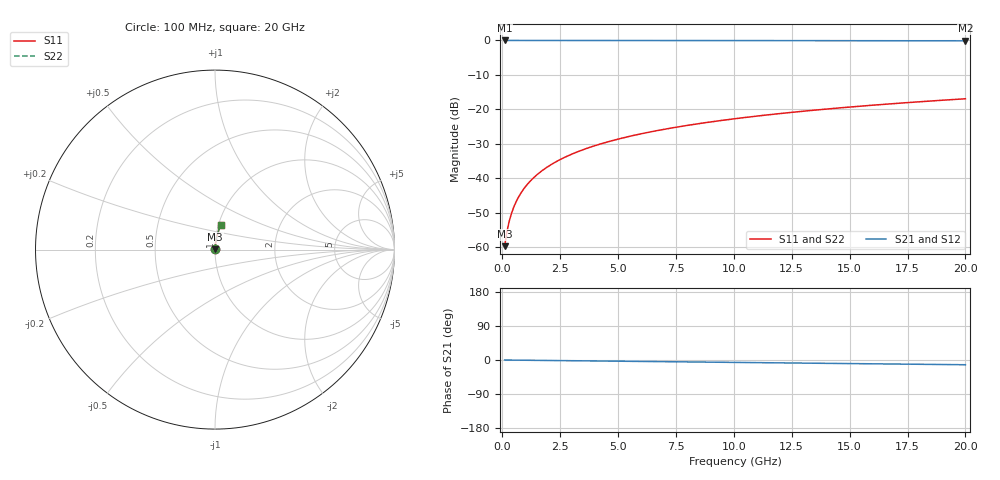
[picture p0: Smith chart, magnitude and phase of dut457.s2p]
! Touchstone file exported from HFSS 2026.1.0
!  File:  C:/ffzhzh/LocalFiles/Ansys_Project_Files/temp_train_TSV_457_1783021889_46388.aedt
!  Generated:  03:54:26 AM Jul  3, 2026
!  Design:  TSV
!  Project:  temp_train_TSV_457_1783021889_46388
! Variables:
!  h_bsmrdl = 2um
!  h_ox = 20um
!  h_rdl = 5um
!  h_sub = 89.25um
!  h_tmrdl = 5um
!  h_tsv = 89.25um
!  h_via = 3um
!  l_bsmrdl = 300um
!  l_sub = 407.8um
!  l_tmrdl = 200um
!  m_sub = 200um
!  pitch = 59.17um
!  r_tsv = 3.9um
!  s_tmrdl = 10um
!  w_bsmrdl = 18um
!  w_sub = 500um
!  w_tmrdl = 12um
!  x_tsv_center1 = 206um
!  x_tsv_center2 = 524um
!  x_tsv_center3 = 736um
!  x_tsv_center4 = 1054um
!  x_tsv_center5 = 1266um
!  x_tsv_center6 = 1584um
# GHz S MA R 50.000000
! Terminal data exported
! Port[1] = TSV1_1_T1
! Port[2] = TSV1_1_T2
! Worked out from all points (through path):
!   200 points, 100 MHz to 20 GHz, reference 50 ohm
!   highest |S21| = -0.01 dB at 100 MHz (marker M1); lowest = -0.1 dB at 20 GHz (marker M2)
!   group delay of S21, straight-line fit = 1.74 ps
!   lowest |S11| = -59.7 dB at 100 MHz (marker M3), VSWR 1.00, Z = 50.1 + j0.0762 ohm
!   |S11| at or under -10 dB: start of sweep to end of sweep
!   |S22| runs from -59.7 to -16.9 dB; largest |S21 - S12| = 2.1e-15
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0.1  0.001032 47.5  0.9993 -0.1  0.9993 -0.1  0.001032 47.5
! Gamma 0 0 0 0
! Port Impedance 50 0 50 0
0.2  0.001675 65.0  0.9993 -0.1  0.9993 -0.1  0.001675 65.0
0.3  0.002383 72.3  0.9993 -0.2  0.9993 -0.2  0.002383 72.3
0.4  0.003109 76.2  0.9993 -0.3  0.9993 -0.3  0.003109 76.2
0.5  0.003842 78.6  0.9993 -0.3  0.9993 -0.3  0.003842 78.6
0.7  0.005317 81.4  0.9992 -0.5  0.9992 -0.5  0.005317 81.4
0.8  0.006057 82.2  0.9992 -0.5  0.9992 -0.5  0.006057 82.2
1  0.00754 83.4  0.9992 -0.6  0.9992 -0.6  0.00754 83.4
1.2  0.009024 84.1  0.9991 -0.8  0.9991 -0.8  0.009024 84.1
1.4  0.01051 84.6  0.9991 -0.9  0.9991 -0.9  0.01051 84.6
1.7  0.01274 85.1  0.9991 -1.1  0.9991 -1.1  0.01274 85.1
2  0.01496 85.3  0.999 -1.3  0.999 -1.3  0.01496 85.3
2.7  0.02013 85.4  0.9988 -1.7  0.9988 -1.7  0.02013 85.4
3.5  0.02602 85.3  0.9985 -2.2  0.9985 -2.2  0.02602 85.3
4.2  0.03113 85.0  0.9983 -2.7  0.9983 -2.7  0.03113 85.0
5  0.03695 84.7  0.9979 -3.2  0.9979 -3.2  0.03695 84.7
6.8  0.04992 83.8  0.9971 -4.3  0.9971 -4.3  0.04992 83.8
8.3  0.06065 83.0  0.9963 -5.3  0.9963 -5.3  0.06065 83.0
10.1  0.07345 82.0  0.9952 -6.4  0.9952 -6.4  0.07345 82.0
13.4  0.09671 80.1  0.9929 -8.5  0.9929 -8.5  0.09671 80.1
16.7  0.1197 78.2  0.9902 -10.5  0.9902 -10.5  0.1197 78.2
20  0.1423 76.3  0.9869 -12.5  0.9869 -12.5  0.1423 76.3
